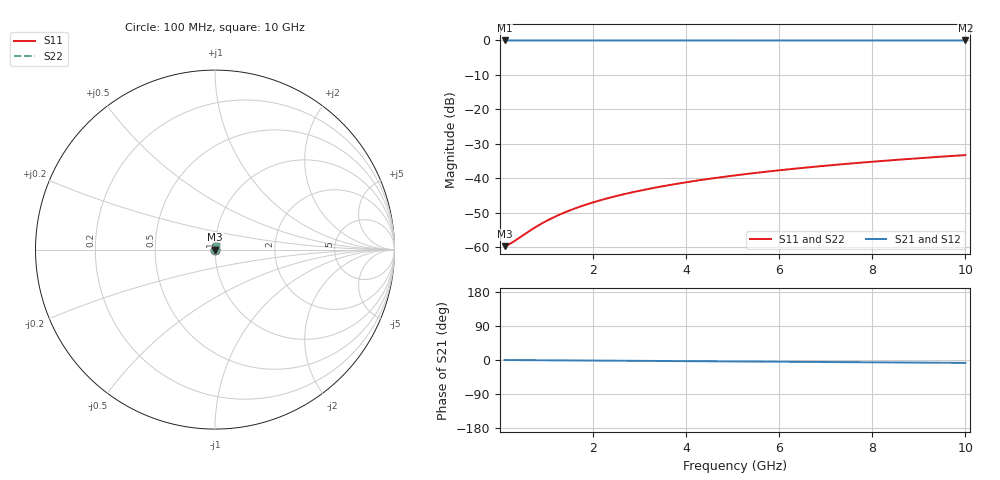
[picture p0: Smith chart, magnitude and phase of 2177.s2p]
# Hz S RI R 50.00
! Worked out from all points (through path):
!   100 points, 100 MHz to 10 GHz, reference 50 ohm
!   highest |S21| = -0.01 dB at 100 MHz (marker M1); lowest = 0.0 dB at 10 GHz (marker M2)
!   group delay of S21, straight-line fit = 2.11 ps
!   lowest |S11| = -59.6 dB at 100 MHz (marker M3), VSWR 1.00, Z = 50.1 + j0.0217 ohm
!   |S11| at or under -10 dB: start of sweep to end of sweep
!   |S22| runs from -59.6 to -33.2 dB; largest |S21 - S12| = 0
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1e8  0.00102 0.000217  0.999 -0.00132  0.999 -0.00132  0.00102 0.000217
2e8  0.00103 0.000434  0.999 -0.00264  0.999 -0.00264  0.00103 0.000434
3e8  0.00103 0.000651  0.999 -0.00396  0.999 -0.00396  0.00103 0.000651
7e8  0.00106 0.00152  0.9989 -0.00924  0.9989 -0.00924  0.00106 0.00152
8e8  0.00106 0.00174  0.9989 -0.0106  0.9989 -0.0106  0.00106 0.00174
1e9  0.00108 0.00217  0.9989 -0.0132  0.9989 -0.0132  0.00108 0.00217
1.2e9  0.00109 0.0026  0.9988 -0.0158  0.9988 -0.0158  0.00109 0.0026
1.4e9  0.00111 0.00304  0.9988 -0.0185  0.9988 -0.0185  0.00111 0.00304
1.6e9  0.00113 0.00347  0.9987 -0.0211  0.9987 -0.0211  0.00113 0.00347
1.8e9  0.00115 0.0039  0.9986 -0.0238  0.9986 -0.0238  0.00115 0.0039
2.1e9  0.00119 0.00455  0.9985 -0.0277  0.9985 -0.0277  0.00119 0.00455
2.5e9  0.00124 0.00542  0.9983 -0.033  0.9983 -0.033  0.00124 0.00542
2.9e9  0.00131 0.00628  0.9981 -0.0383  0.9981 -0.0383  0.00131 0.00628
3.4e9  0.0014 0.00736  0.9979 -0.0449  0.9979 -0.0449  0.0014 0.00736
3.8e9  0.00149 0.00823  0.9976 -0.0502  0.9976 -0.0502  0.00149 0.00823
4.2e9  0.00158 0.00909  0.9973 -0.0555  0.9973 -0.0555  0.00158 0.00909
5.1e9  0.00183 0.011  0.9965 -0.0673  0.9965 -0.0673  0.00183 0.011
5.9e9  0.00209 0.0127  0.9957 -0.0779  0.9957 -0.0779  0.00209 0.0127
6.7e9  0.00238 0.0144  0.9948 -0.0885  0.9948 -0.0885  0.00238 0.0144
7.5e9  0.00271 0.0161  0.9938 -0.099  0.9938 -0.099  0.00271 0.0161
8.4e9  0.00312 0.0181  0.9925 -0.1109  0.9925 -0.1109  0.00312 0.0181
1e10  0.00397 0.0214  0.9898 -0.132  0.9898 -0.132  0.00397 0.0214
